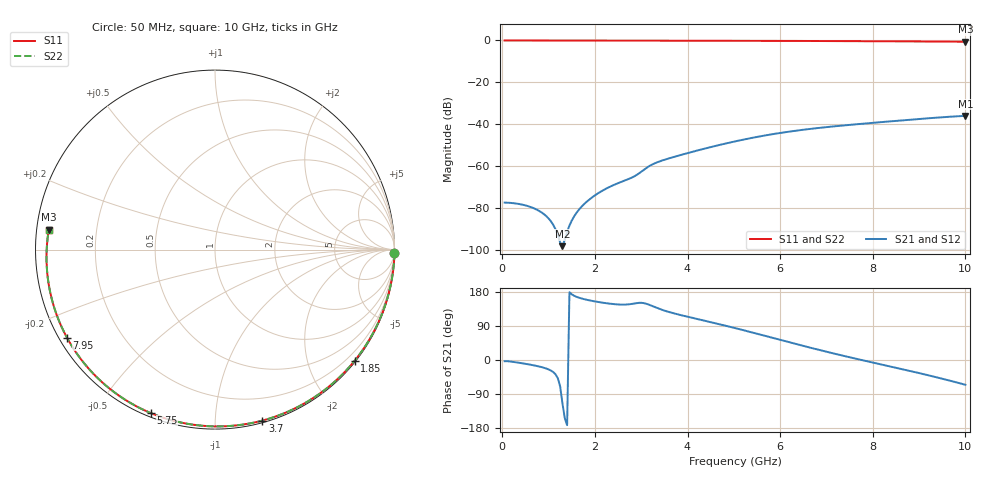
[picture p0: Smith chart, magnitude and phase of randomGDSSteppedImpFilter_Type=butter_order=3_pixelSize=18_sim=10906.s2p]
! freq	dB(S11)	phase(S11)	dB(S12)	phase(S12)
!  dB(S21)	phase(S21)	dB(S22)	phase(S22)
!S-par simulation data
#  GHz  S  DB  R 50
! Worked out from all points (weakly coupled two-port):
!   200 points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, 50 MHz to 10 GHz, reference 50 ohm
!   highest |S21| = -35.89 dB at 10 GHz (marker M1); lowest = -97.9 dB at 1.3 GHz (marker M2)
!   lowest |S11| = -0.6 dB at 10 GHz (marker M3), VSWR 28.67, Z = 1.75 + j2.98 ohm
!   |S11| at or under -10 dB: nowhere
!   |S22| runs from -0.6 to 0.0 dB; largest |S21 - S12| = 0
!   S11 on the Smith chart (normalised r, x): 50 MHz: open; 1.85 GHz: 0.03, -2.87; 3.7 GHz: 0.02, -1.31; 5.75 GHz: 0.02, -0.68; 7.95 GHz: 0.02, -0.27; 10 GHz: 0.04, +0.06
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0.05  -0.00 -1.1  -77.19 -3.2  -77.19 -3.2  -0.00 -1.1
0.4  -0.01 -8.5  -78.02 -8.0  -78.02 -8.0  -0.01 -8.5
0.7  -0.02 -14.8  -80.07 -14.6  -80.07 -14.6  -0.02 -14.8
1.3  -0.03 -27.2  -97.94 -115.5  -97.94 -115.5  -0.03 -27.2
1.65  -0.04 -34.4  -80.71 164.6  -80.71 164.6  -0.04 -34.4
1.7  -0.04 -35.4  -79.43 162.7  -79.43 162.7  -0.04 -35.4
1.75  -0.05 -36.4  -78.27 161.0  -78.27 161.0  -0.05 -36.4
1.85  -0.05 -38.5  -76.26 158.2  -76.26 158.2  -0.05 -38.5
2  -0.05 -41.5  -73.75 154.6  -73.75 154.6  -0.05 -41.5
2.2  -0.06 -45.5  -71.06 150.6  -71.06 150.6  -0.06 -45.5
2.85  -0.08 -58.3  -64.70 149.1  -64.70 149.1  -0.08 -58.3
3.2  -0.09 -65.1  -59.49 144.3  -59.49 144.3  -0.09 -65.1
3.4  -0.09 -68.9  -57.55 134.5  -57.55 134.5  -0.09 -68.9
3.7  -0.10 -74.6  -55.48 123.3  -55.48 123.3  -0.10 -74.6
4.35  -0.12 -86.6  -51.60 104.2  -51.60 104.2  -0.12 -86.6
5.05  -0.15 -99.2  -47.94 83.5  -47.94 83.5  -0.15 -99.2
5.75  -0.19 -111.5  -44.94 61.3  -44.94 61.3  -0.19 -111.5
6.7  -0.25 -127.8  -41.98 30.9  -41.98 30.9  -0.25 -127.8
7.95  -0.36 -149.3  -39.32 -5.4  -39.32 -5.4  -0.36 -149.3
8.35  -0.40 -156.3  -38.57 -16.4  -38.57 -16.4  -0.40 -156.3
9.2  -0.50 -171.6  -37.05 -40.3  -37.05 -40.3  -0.50 -171.6
10  -0.61 173.2  -35.89 -65.4  -35.89 -65.4  -0.61 173.2
